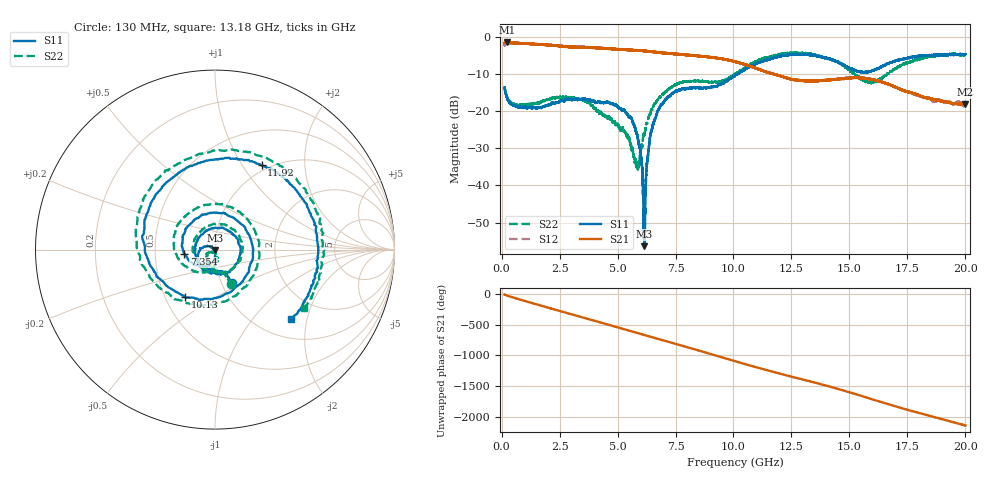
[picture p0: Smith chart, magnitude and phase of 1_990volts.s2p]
!Created with skrf (http://scikit-rf.org).
# GHz S RI R 50.0
!freq ReS11 ImS11 ReS21 ImS21 ReS12 ImS12 ReS22 ImS22
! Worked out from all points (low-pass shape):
!   20013 points, 130 MHz to 20 GHz, reference 50 ohm
!   highest |S21| = -1.52 dB at 225 MHz (marker M1); lowest = -18.2 dB at 20 GHz (marker M2)
!   |S21| within 3 dB of the highest: start of sweep to 7.18 GHz; 7.213094 GHz to 7.24477 GHz (31.68 MHz wide, 0.438 % of centre)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
!   lowest |S11| = -56.4 dB at 6.158 GHz (marker M3), VSWR 1.00, Z = 50 - j0.149 ohm
!   |S11| at or under -10 dB: start of sweep to 10.17 GHz; 10.16914 GHz to 10.1824 GHz (13.26 MHz wide, 0.13 % of centre); 10.18343 GHz to 10.18907 GHz (5.64 MHz wide, 0.0554 % of centre)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
!   |S22| runs from -35.7 to -4.3 dB; largest |S21 - S12| = 0.088
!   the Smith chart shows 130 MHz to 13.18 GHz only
!   S11 on the Smith chart (normalised r, x): 130 MHz: 1.11, -0.44; 7.354 GHz: 0.71, -0.04; 10.13 GHz: 0.63, -0.37; 11.92 GHz: 0.92, +1.23; 13.18 GHz: 1.34, -1.60
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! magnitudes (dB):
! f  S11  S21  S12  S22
! 130 MHz  -13.6  -1.6  -1.7  -13.5
! 225 MHz  -16.3  -1.5  -1.6  -16.1
! 1.046 GHz  -19.0  -1.8  -1.8  -18.3
! 3.442 GHz  -16.9  -2.8  -2.8  -16.9
! 5.273 GHz  -19.7  -3.5  -3.5  -25.4
! 5.591 GHz  -21.8  -3.6  -3.6  -30.0
! 5.856 GHz  -26.5  -3.7  -3.7  -34.9
! 5.989 GHz  -31.4  -3.8  -3.7  -30.8
! 6.095 GHz  -39.1  -3.8  -3.8  -27.7
! 6.158 GHz  -56.4  -3.8  -3.8  -26.4
! 6.399 GHz  -27.2  -4.0  -4.0  -20.8
! 6.754 GHz  -19.6  -4.2  -4.2  -16.8
! 7.354 GHz  -15.3  -4.5  -4.5  -13.4
! 10.06 GHz  -10.5  -6.7  -6.6  -10.1
! 10.13 GHz  -10.1  -6.8  -6.8  -9.8
! 11.92 GHz  -5.4  -10.3  -10.3  -4.8
! 13.18 GHz  -4.8  -11.9  -11.9  -4.4
! 13.38 GHz  -4.9  -11.9  -11.9  -4.7
! 15.77 GHz  -9.5  -11.3  -11.2  -11.9
! 16.69 GHz  -7.1  -12.7  -12.8  -9.9
! 20 GHz  -4.8  -18.2  -18.3  -4.8
! 20 GHz  -4.7  -18.1  -18.3  -4.7
